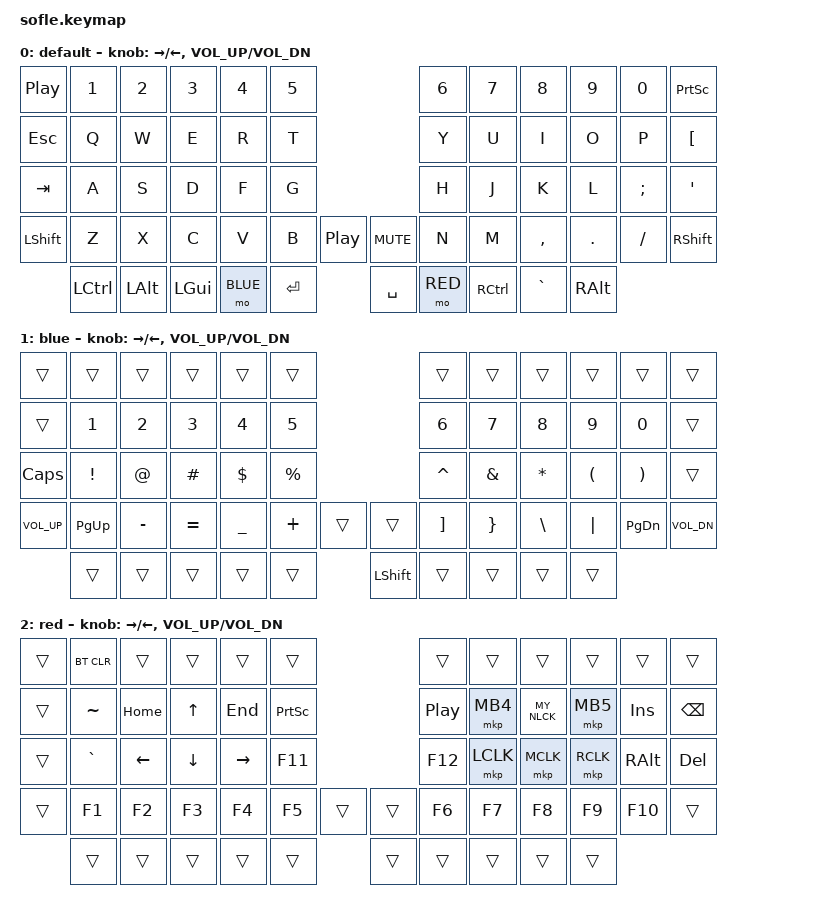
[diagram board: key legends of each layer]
/*
 * Copyright (c) 2020 The ZMK Contributors
 *
 * SPDX-License-Identifier: MIT
 */

#include <behaviors.dtsi>
#include <dt-bindings/zmk/keys.h>
#include <dt-bindings/zmk/bt.h>
#include <dt-bindings/zmk/rgb.h>
#include <dt-bindings/zmk/ext_power.h>
#include <dt-bindings/zmk/pointing.h>

// Num Lock
#define MY_NLCK (ZMK_HID_USAGE(HID_USAGE_KEY, 0x53))

#define BASE 0
#define BLUE 1 
#define RED  2

/ {

    keymap {
        compatible = "zmk,keymap";

        default_layer {
            display-name = "default";
// ----------------------------------------------------------------------------------------------------------------
// | PAUSE |  1  |  2  |  3   |  4   |  5   |                                |  6  |  7    |  8    |  9   |   0   | PSCR      |
// | ESC   |  Q  |  W  |  E   |  R   |  T   |                                |  Y  |  U    |  I    |  O   |   P   | [         |
// | TAB   |  A  |  S  |  D   |  F   |  G   |                                |  H  |  J    |  K    |  L   |   ;   | '         |
// | SHIFT |  Z  |  X  |  C   |  V   |  B   | PAUSE |                | MUTE  |  N  |  M    |  ,    |  .   |   /   | SHIFT     |
//               |CTRL | ALT  | GUI  | BLUE | ENTER |                | SPACE | RED | CTRL  |  `    | ALT  |
            bindings = <
&kp C_PLAY_PAUSE &kp N1 &kp N2 &kp N3 &kp N4   &kp N5                               &kp N6  &kp N7    &kp N8    &kp N9  &kp N0   &kp PSCRN
&kp ESC          &kp Q  &kp W  &kp E  &kp R    &kp T                                &kp Y   &kp U     &kp I     &kp O   &kp P    &kp LBKT
&kp TAB          &kp A  &kp S  &kp D  &kp F    &kp G                                &kp H   &kp J     &kp K     &kp L   &kp SEMI &kp SQT
&kp LSHFT        &kp Z  &kp X  &kp C  &kp V    &kp B    &kp C_PLAY_PAUSE &kp C_MUTE &kp N   &kp M     &kp COMMA &kp DOT &kp FSLH &kp RSHFT
                    &kp LCTRL &kp LALT &kp LGUI &mo BLUE &kp RET         &kp SPACE  &mo RED &kp RCTRL &kp GRAVE &kp RALT
            >;

            sensor-bindings = <&inc_dec_kp RIGHT LEFT &inc_dec_kp C_VOL_UP C_VOL_DN>;
        };

        blue_layer {
            display-name = "blue";
// IF DVORAK IS TURNED ON
// ------------------------------------------------------------------------------------------------------------
// |       |     |     |      |      |      |                   |      |       |       |      |       |       |
// |       |  1  |  2  |  3   |  4   |  5   |                   |  6   |  7    |  8    |  9   |   0   |       |
// | Caps  |  !  |  @  |  #   |  $   |  %   |                   |  ^   |  &    |  *    |  (   |   )   |       |
// | VolUp |PgUp |  [  |  ]   |  {   |  }   |        |  |       |  =   |  +    |  \    |  |   | PgDn  | VolDn |
//               |     |      |      |      |        |  |       |      |       |       |      |
            bindings = <
&trans       &trans    &trans    &trans    &trans    &trans                      &trans    &trans   &trans    &trans   &trans    &trans
&trans       &kp N1    &kp N2    &kp N3    &kp N4    &kp N5                      &kp N6    &kp N7   &kp N8    &kp N9   &kp N0    &trans
&kp CLCK     &kp EXCL  &kp AT    &kp HASH  &kp DLLR  &kp PRCNT                   &kp CARET &kp AMPS &kp ASTRK &kp LPAR &kp RPAR  &trans
&kp C_VOL_UP &kp PG_UP &kp MINUS &kp EQUAL &kp UNDER &kp PLUS &trans   &trans    &kp RBKT  &kp RBRC &kp BSLH  &kp PIPE &kp PG_DN &kp C_VOL_DN
                       &trans    &trans    &trans    &trans   &trans   &kp LSHFT &trans    &trans   &trans    &trans
            >;

            sensor-bindings = <&inc_dec_kp RIGHT LEFT &inc_dec_kp C_VOL_UP C_VOL_DN>;
        };

        red_layer {
            display-name = "red";
// ------------------------------------------------------------------------------------------------------------
// |      |BTC |      |    |     |      |               |       |      |      |     |       |      |
// |      | ~  | Home |  ^ | End |PrtSc |               | PAUSE | Back |NumLk |Forw | Ins   | BkSp |
// |      | `  |   <- |  v | ->  | F11  |               | F12   | LMou | MMou |RMou | Alt   | Del  |
// |      | F1 |  F2  | F3 | F4  | F5   |      |  |     | F6    | F7   | F8   | F9  | F10   |      |
//             |      |    |     |      |      |  |     |       |      |      |     |
            bindings = <
&trans   &bt BT_CLR &trans   &trans   &trans    &trans                     &trans    &trans   &trans    &trans     &trans   &trans
&trans    &kp TILDE &kp HOME &kp UP   &kp END   &kp PSCRN           &kp C_PLAY_PAUSE &mkp MB4 &kp MY_NLCK &mkp MB5 &kp INS  &kp BSPC
&trans    &kp GRAVE &kp LEFT &kp DOWN &kp RIGHT &kp F11                    &kp F12  &mkp LCLK &mkp MCLK &mkp RCLK  &kp RALT &kp DEL
&trans    &kp F1    &kp F2   &kp F3   &kp F4    &kp F5   &trans     &trans &kp F6    &kp F7   &kp F8    &kp F9     &kp F10  &trans
                    &trans   &trans   &trans    &trans   &trans     &trans &trans    &trans   &trans    &trans
            >;

            sensor-bindings = <&inc_dec_kp RIGHT LEFT &inc_dec_kp C_VOL_UP C_VOL_DN>;
        };

    };
};
